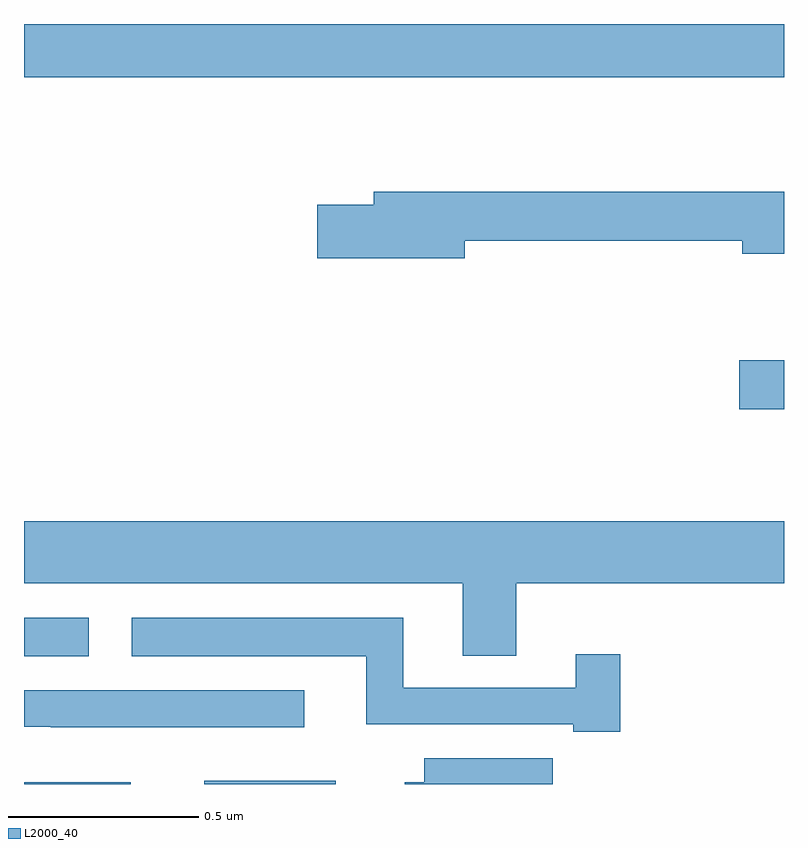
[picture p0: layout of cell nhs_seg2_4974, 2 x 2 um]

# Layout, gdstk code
import gdstk
lib = gdstk.Library(unit=1e-6, precision=1e-09)
def R(c, l, rs):  # rectangles x0, y0, x1, y1
    for r in rs: c.add(gdstk.rectangle(r[:2], r[2:], *l))
def P(c, l, *ps):  # polygons
    for p in ps: c.add(gdstk.Polygon(p, *l))
L2000_40 = (2000, 40)

nhs_seg2_4974 = lib.new_cell('nhs_seg2_4974')
R(nhs_seg2_4974, L2000_40, [(173,621.8,173.281,621.805), (173.474,621.8,173.821,621.808), (173,622.136,173.17,622.237), (174.882,622.786,175,622.915), (173,623.66,175,623.8)])
P(nhs_seg2_4974, L2000_40, [(174.16,623.23),(174.89,623.23),(174.89,623.195),(175,623.195),(175,623.359),(173.921,623.359),(173.921,623.325),(173.772,623.325),(173.772,623.183),(174.16,623.183)],
  [(174.295,622.328),(175,622.328),(175,622.492),(173,622.492),(173,622.328),(174.155,622.328),(174.155,622.138),(174.295,622.138)],
  [(174.569,622.141),(174.452,622.141),(174.452,622.053),(173.998,622.053),(173.998,622.237),(173.283,622.237),(173.283,622.136),(173.9,622.136),(173.9,621.957),(174.446,621.957),(174.446,621.937),(174.569,621.937)],
  [(173.737,622.047),(173,622.047),(173,621.951),(173.071,621.951),(173.071,621.95),(173.737,621.95)],
  [(174.391,621.868),(174.053,621.868),(174.053,621.805),(174.002,621.805),(174.002,621.8),(174.391,621.8)])

lib.write_gds('nhs_seg2_4974.gds')
